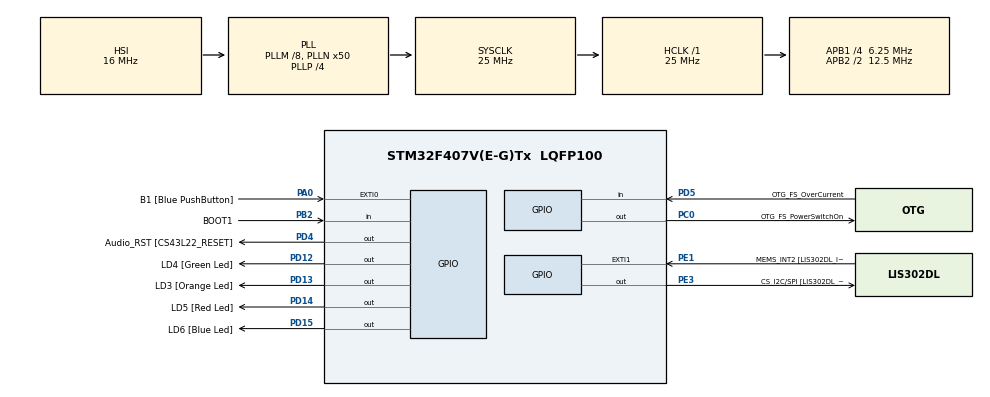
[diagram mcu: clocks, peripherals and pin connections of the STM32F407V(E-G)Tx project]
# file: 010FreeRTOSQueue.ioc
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Mcu.Family=STM32F4
Mcu.Name=STM32F407V(E-G)Tx
Mcu.Package=LQFP100
NVIC.PriorityGroup=NVIC_PRIORITYGROUP_0
NVIC.TIM6_DAC_IRQn=true\:0\:0\:false\:false\:true\:false\:true\:true
NVIC.TimeBase=TIM6_DAC_IRQn
NVIC.TimeBaseIP=TIM6
PA0-WKUP.GPIO_Label=B1 [Blue PushButton]
PA0-WKUP.Signal=GPXTI0
PA10.GPIO_Label=OTG_FS_ID
PA10.GPIO_Mode=GPIO_MODE_AF_PP
PA10.GPIO_PuPd=GPIO_NOPULL
PA10.GPIO_Speed=GPIO_SPEED_FREQ_LOW
PA10.Signal=USB_OTG_FS_ID
PA11.GPIO_Label=OTG_FS_DM
PA11.GPIO_Mode=GPIO_MODE_AF_PP
PA11.GPIO_PuPd=GPIO_NOPULL
PA11.GPIO_Speed=GPIO_SPEED_FREQ_LOW
PA11.Signal=USB_OTG_FS_DM
PA12.GPIO_Label=OTG_FS_DP
PA12.GPIO_Mode=GPIO_MODE_AF_PP
PA12.GPIO_PuPd=GPIO_NOPULL
PA12.GPIO_Speed=GPIO_SPEED_FREQ_LOW
PA12.Signal=USB_OTG_FS_DP
PA13.GPIO_Label=SWDIO
PA13.Signal=SYS_JTMS-SWDIO
PA14.GPIO_Label=SWCLK
PA14.Signal=SYS_JTCK-SWCLK
PA4.GPIO_Label=I2S3_WS [CS43L22_LRCK]
PA4.GPIO_Mode=GPIO_MODE_AF_PP
PA4.GPIO_PuPd=GPIO_NOPULL
PA4.GPIO_Speed=GPIO_SPEED_FREQ_LOW
PA4.Signal=I2S3_WS
PA5.GPIO_Label=SPI1_SCK [LIS302DL_SCL/SPC]
PA5.GPIO_Mode=GPIO_MODE_AF_PP
PA5.GPIO_PuPd=GPIO_NOPULL
PA5.GPIO_Speed=GPIO_SPEED_FREQ_LOW
PA5.Signal=SPI1_SCK
PA6.GPIO_Label=SPI1_MISO [LIS302DL_SDO]
PA6.GPIO_Mode=GPIO_MODE_AF_PP
PA6.GPIO_PuPd=GPIO_NOPULL
PA6.GPIO_Speed=GPIO_SPEED_FREQ_LOW
PA6.Signal=SPI1_MISO
PA7.GPIO_Label=SPI1_MOSI [LIS302DL_SDA/SDI/SDO]
PA7.GPIO_Mode=GPIO_MODE_AF_PP
PA7.GPIO_PuPd=GPIO_NOPULL
PA7.GPIO_Speed=GPIO_SPEED_FREQ_LOW
PA7.Signal=SPI1_MOSI
PA9.GPIO_Label=VBUS_FS
PA9.GPIO_Mode=GPIO_MODE_INPUT
PA9.GPIO_PuPd=GPIO_NOPULL
PA9.Signal=USB_OTG_FS_VBUS
PB10.GPIO_Label=CLK_IN [MP45DT02_CLK]
PB10.GPIO_Mode=GPIO_MODE_AF_PP
PB10.GPIO_PuPd=GPIO_NOPULL
PB10.GPIO_Speed=GPIO_SPEED_FREQ_LOW
PB10.Signal=I2S2_CK
PB2.GPIO_Label=BOOT1
PB2.GPIO_Mode=GPIO_MODE_INPUT
PB2.GPIO_PuPd=GPIO_NOPULL
PB2.Signal=GPIO_Input
PB3.GPIO_Label=SWO
PB3.Signal=SYS_JTDO-SWO
PB6.GPIO_Label=Audio_SCL [CS43L22_SCL]
PB6.GPIO_Mode=GPIO_MODE_AF_OD
PB6.GPIO_PuPd=GPIO_NOPULL
PB6.GPIO_Speed=GPIO_SPEED_FREQ_LOW
PB6.Signal=I2C1_SCL
PB9.GPIO_Label=Audio_SDA [CS43L22_SDA]
PB9.GPIO_Mode=GPIO_MODE_AF_OD
PB9.GPIO_PuPd=GPIO_NOPULL
PB9.GPIO_Speed=GPIO_SPEED_FREQ_LOW
PB9.Signal=I2C1_SDA
PC0.GPIO_Label=OTG_FS_PowerSwitchOn
PC0.GPIO_PuPd=GPIO_NOPULL
PC0.GPIO_Speed=GPIO_SPEED_FREQ_LOW
PC0.PinState=GPIO_PIN_SET
PC0.Signal=GPIO_Output
PC10.GPIO_Label=I2S3_SCK [CS43L22_SCLK]
PC10.GPIO_Mode=GPIO_MODE_AF_PP
PC10.GPIO_PuPd=GPIO_NOPULL
PC10.GPIO_Speed=GPIO_SPEED_FREQ_LOW
PC10.Signal=I2S3_CK
PC12.GPIO_Label=I2S3_SD [CS43L22_SDIN]
PC12.GPIO_Mode=GPIO_MODE_AF_PP
PC12.GPIO_PuPd=GPIO_NOPULL
PC12.GPIO_Speed=GPIO_SPEED_FREQ_LOW
PC12.Signal=I2S3_SD
PC14-OSC32_IN.GPIO_Label=PC14-OSC32_IN
PC14-OSC32_IN.Signal=RCC_OSC32_IN
PC15-OSC32_OUT.GPIO_Label=PC15-OSC32_OUT
PC15-OSC32_OUT.Signal=RCC_OSC32_OUT
PC3.GPIO_Label=PDM_OUT [MP45DT02_DOUT]
PC3.GPIO_Mode=GPIO_MODE_AF_PP
PC3.GPIO_PuPd=GPIO_NOPULL
PC3.GPIO_Speed=GPIO_SPEED_FREQ_LOW
PC3.Signal=I2S2_SD
PC7.GPIO_Label=I2S3_MCK [CS43L22_MCLK]
PC7.GPIO_Mode=GPIO_MODE_AF_PP
PC7.GPIO_PuPd=GPIO_NOPULL
PC7.GPIO_Speed=GPIO_SPEED_FREQ_LOW
PC7.Signal=I2S3_MCK
PD12.GPIO_Label=LD4 [Green Led]
PD12.GPIO_PuPd=GPIO_NOPULL
PD12.GPIO_Speed=GPIO_SPEED_FREQ_LOW
PD12.Signal=GPIO_Output
PD13.GPIO_Label=LD3 [Orange Led]
PD13.GPIO_PuPd=GPIO_NOPULL
PD13.GPIO_Speed=GPIO_SPEED_FREQ_LOW
PD13.Signal=GPIO_Output
PD14.GPIO_Label=LD5 [Red Led]
PD14.GPIO_PuPd=GPIO_NOPULL
PD14.GPIO_Speed=GPIO_SPEED_FREQ_LOW
PD14.Signal=GPIO_Output
PD15.GPIO_Label=LD6 [Blue Led]
PD15.GPIO_PuPd=GPIO_NOPULL
PD15.GPIO_Speed=GPIO_SPEED_FREQ_LOW
PD15.Signal=GPIO_Output
PD4.GPIO_Label=Audio_RST [CS43L22_RESET]
PD4.GPIO_PuPd=GPIO_NOPULL
PD4.GPIO_Speed=GPIO_SPEED_FREQ_LOW
PD4.Signal=GPIO_Output
PD5.GPIO_Label=OTG_FS_OverCurrent
PD5.GPIO_Mode=GPIO_MODE_INPUT
PD5.GPIO_PuPd=GPIO_NOPULL
PD5.Signal=GPIO_Input
PE1.GPIO_Label=MEMS_INT2 [LIS302DL_INT2]
PE1.GPIO_ModeDefaultEXTI=GPIO_MODE_EVT_RISING
PE1.GPIO_PuPd=GPIO_NOPULL
PE1.Signal=GPXTI1
PE3.GPIO_Label=CS_I2C/SPI [LIS302DL_CS_I2C/SPI]
PE3.GPIO_PuPd=GPIO_NOPULL
PE3.GPIO_Speed=GPIO_SPEED_FREQ_LOW
PE3.Signal=GPIO_Output
PH0-OSC_IN.GPIO_Label=PH0-OSC_IN
PH0-OSC_IN.Signal=RCC_OSC_IN
PH1-OSC_OUT.GPIO_Label=PH1-OSC_OUT
PH1-OSC_OUT.Signal=RCC_OSC_OUT
ProjectManager.HeapSize=0x200
ProjectManager.StackSize=0x400
ProjectManager.TargetToolchain=STM32CubeIDE
RCC.48MHZClocksFreq_Value=14285714.285714285
RCC.AHBFreq_Value=25000000
RCC.APB1CLKDivider=RCC_HCLK_DIV4
RCC.APB1Freq_Value=6250000
RCC.APB1TimFreq_Value=12500000
RCC.APB2CLKDivider=RCC_HCLK_DIV2
RCC.APB2Freq_Value=12500000
RCC.APB2TimFreq_Value=25000000
RCC.CortexFreq_Value=25000000
RCC.HCLKFreq_Value=25000000
RCC.HSE_VALUE=8000000
RCC.HSI_VALUE=16000000
RCC.LSE_VALUE=32768
RCC.PLLM=8
RCC.PLLN=50
RCC.PLLP=RCC_PLLP_DIV4
RCC.PLLQ=7
RCC.SYSCLKFreq_VALUE=25000000
RCC.SYSCLKSource=RCC_SYSCLKSOURCE_PLLCLK
RCC.VCOOutputFreq_Value=100000000
VP_SYS_VS_tim6.Mode=TIM6
board=STM32F407G-DISC1

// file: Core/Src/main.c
/* USER CODE BEGIN Header */
/**
  ******************************************************************************
  * @file           : main.c
  * @brief          : Main program body
  ******************************************************************************
  * @attention
  *
  * Copyright (c) 2024 STMicroelectronics.
  * All rights reserved.
  *
  * This software is licensed under terms that can be found in the LICENSE file
  * in the root directory of this software component.
  * If no LICENSE file comes with this software, it is provided AS-IS.
  *
  ******************************************************************************
  */
/* USER CODE END Header */
#include "main.h"

/* USER CODE BEGIN Includes */
#include <stdint.h>
#include <stdlib.h>
#include "FreeRTOS.h"
#include "task.h"
#include "queue.h"
/* USER CODE END Includes */

/* USER CODE BEGIN PD */
#define DWT_CTRL					(*(volatile uint32_t *) 0xE0001000U)
#define QUEUE_SIZE					5
#define QUEUE_ADD_WAIT				(portMAX_DELAY)
#define MANAGER_TASK_DELAY			25
#define MANAGER_TASK_FAIL_DELAY		10
/* USER CODE END PD */

/* USER CODE BEGIN PV */
TaskHandle_t task_handle_manager_task;

QueueHandle_t TaskQueue = NULL;

/* USER CODE END PV */

void SystemClock_Config(void);
static void MX_GPIO_Init(void);
/* USER CODE BEGIN PFP */
static void manager_task(void *params);
static void get_pending_report(void);
/* USER CODE END PFP */

int main(void)
{
  /* USER CODE BEGIN 1 */
	BaseType_t status;

  /* USER CODE END 1 */

  /* MCU Configuration--------------------------------------------------------*/

  /* Reset of all peripherals, Initializes the Flash interface and the Systick. */
  HAL_Init();

  /* Configure the system clock */
  SystemClock_Config();

  /* Initialize all configured peripherals */
  MX_GPIO_Init();
  /* USER CODE BEGIN 2 */
  //Enable the DWT (Data Watch Point) Cycle Count Feature
  DWT_CTRL |= (1 << 0);

  //Enabling SEGGER SYSVIEW event tracing
  SEGGER_SYSVIEW_Conf();
  SEGGER_SYSVIEW_Start();

  status = xTaskCreate(manager_task,"manager_task",1024,NULL,2,&task_handle_manager_task);
  configASSERT(status == pdPASS);

  TaskQueue = xQueueCreate(QUEUE_SIZE,sizeof(unsigned long));
  configASSERT(TaskQueue != NULL);

  vTaskStartScheduler();
  /* USER CODE END 2 */

  /* Infinite loop */
  while (1)
  {

  }
}

void SystemClock_Config(void)
{
  RCC_OscInitTypeDef RCC_OscInitStruct = {0};
  RCC_ClkInitTypeDef RCC_ClkInitStruct = {0};

  /** Configure the main internal regulator output voltage
  */
  __HAL_RCC_PWR_CLK_ENABLE();
  __HAL_PWR_VOLTAGESCALING_CONFIG(PWR_REGULATOR_VOLTAGE_SCALE1);

  /** Initializes the RCC Oscillators according to the specified parameters
  * in the RCC_OscInitTypeDef structure.
  */
  RCC_OscInitStruct.OscillatorType = RCC_OSCILLATORTYPE_HSI;
  RCC_OscInitStruct.HSIState = RCC_HSI_ON;
  RCC_OscInitStruct.HSICalibrationValue = RCC_HSICALIBRATION_DEFAULT;
  RCC_OscInitStruct.PLL.PLLState = RCC_PLL_ON;
  RCC_OscInitStruct.PLL.PLLSource = RCC_PLLSOURCE_HSI;
  RCC_OscInitStruct.PLL.PLLM = 8;
  RCC_OscInitStruct.PLL.PLLN = 50;
  RCC_OscInitStruct.PLL.PLLP = RCC_PLLP_DIV4;
  RCC_OscInitStruct.PLL.PLLQ = 7;
  if (HAL_RCC_OscConfig(&RCC_OscInitStruct) != HAL_OK)
  {
    Error_Handler();
  }

  /** Initializes the CPU, AHB and APB buses clocks
  */
  RCC_ClkInitStruct.ClockType = RCC_CLOCKTYPE_HCLK|RCC_CLOCKTYPE_SYSCLK
                              |RCC_CLOCKTYPE_PCLK1|RCC_CLOCKTYPE_PCLK2;
  RCC_ClkInitStruct.SYSCLKSource = RCC_SYSCLKSOURCE_PLLCLK;
  RCC_ClkInitStruct.AHBCLKDivider = RCC_SYSCLK_DIV1;
  RCC_ClkInitStruct.APB1CLKDivider = RCC_HCLK_DIV4;
  RCC_ClkInitStruct.APB2CLKDivider = RCC_HCLK_DIV2;

  if (HAL_RCC_ClockConfig(&RCC_ClkInitStruct, FLASH_LATENCY_0) != HAL_OK)
  {
    Error_Handler();
  }
}

static void MX_GPIO_Init(void)
{
  GPIO_InitTypeDef GPIO_InitStruct = {0};

  /* GPIO Ports Clock Enable */
  __HAL_RCC_GPIOE_CLK_ENABLE();
  __HAL_RCC_GPIOC_CLK_ENABLE();
  __HAL_RCC_GPIOH_CLK_ENABLE();
  __HAL_RCC_GPIOA_CLK_ENABLE();
  __HAL_RCC_GPIOB_CLK_ENABLE();
  __HAL_RCC_GPIOD_CLK_ENABLE();

  /*Configure GPIO pin Output Level */
  HAL_GPIO_WritePin(CS_I2C_SPI_GPIO_Port, CS_I2C_SPI_Pin, GPIO_PIN_RESET);

  /*Configure GPIO pin Output Level */
  HAL_GPIO_WritePin(OTG_FS_PowerSwitchOn_GPIO_Port, OTG_FS_PowerSwitchOn_Pin, GPIO_PIN_SET);

  /*Configure GPIO pin Output Level */
  HAL_GPIO_WritePin(GPIOD, LD4_Pin|LD3_Pin|LD5_Pin|LD6_Pin
                          |Audio_RST_Pin, GPIO_PIN_RESET);

  /*Configure GPIO pin : CS_I2C_SPI_Pin */
  GPIO_InitStruct.Pin = CS_I2C_SPI_Pin;
  GPIO_InitStruct.Mode = GPIO_MODE_OUTPUT_PP;
  GPIO_InitStruct.Pull = GPIO_NOPULL;
  GPIO_InitStruct.Speed = GPIO_SPEED_FREQ_LOW;
  HAL_GPIO_Init(CS_I2C_SPI_GPIO_Port, &GPIO_InitStruct);

  /*Configure GPIO pin : OTG_FS_PowerSwitchOn_Pin */
  GPIO_InitStruct.Pin = OTG_FS_PowerSwitchOn_Pin;
  GPIO_InitStruct.Mode = GPIO_MODE_OUTPUT_PP;
  GPIO_InitStruct.Pull = GPIO_NOPULL;
  GPIO_InitStruct.Speed = GPIO_SPEED_FREQ_LOW;
  HAL_GPIO_Init(OTG_FS_PowerSwitchOn_GPIO_Port, &GPIO_InitStruct);

  /*Configure GPIO pin : PDM_OUT_Pin */
  GPIO_InitStruct.Pin = PDM_OUT_Pin;
  GPIO_InitStruct.Mode = GPIO_MODE_AF_PP;
  GPIO_InitStruct.Pull = GPIO_NOPULL;
  GPIO_InitStruct.Speed = GPIO_SPEED_FREQ_LOW;
  GPIO_InitStruct.Alternate = GPIO_AF5_SPI2;
  HAL_GPIO_Init(PDM_OUT_GPIO_Port, &GPIO_InitStruct);

  /*Configure GPIO pin : B1_Pin */
  GPIO_InitStruct.Pin = B1_Pin;
  GPIO_InitStruct.Mode = GPIO_MODE_IT_RISING;
  GPIO_InitStruct.Pull = GPIO_NOPULL;
  HAL_GPIO_Init(B1_GPIO_Port, &GPIO_InitStruct);

  /*Configure GPIO pin : I2S3_WS_Pin */
  GPIO_InitStruct.Pin = I2S3_WS_Pin;
  GPIO_InitStruct.Mode = GPIO_MODE_AF_PP;
  GPIO_InitStruct.Pull = GPIO_NOPULL;
  GPIO_InitStruct.Speed = GPIO_SPEED_FREQ_LOW;
  GPIO_InitStruct.Alternate = GPIO_AF6_SPI3;
  HAL_GPIO_Init(I2S3_WS_GPIO_Port, &GPIO_InitStruct);

  /*Configure GPIO pins : SPI1_SCK_Pin SPI1_MISO_Pin SPI1_MOSI_Pin */
  GPIO_InitStruct.Pin = SPI1_SCK_Pin|SPI1_MISO_Pin|SPI1_MOSI_Pin;
  GPIO_InitStruct.Mode = GPIO_MODE_AF_PP;
  GPIO_InitStruct.Pull = GPIO_NOPULL;
  GPIO_InitStruct.Speed = GPIO_SPEED_FREQ_LOW;
  GPIO_InitStruct.Alternate = GPIO_AF5_SPI1;
  HAL_GPIO_Init(GPIOA, &GPIO_InitStruct);

  /*Configure GPIO pin : BOOT1_Pin */
  GPIO_InitStruct.Pin = BOOT1_Pin;
  GPIO_InitStruct.Mode = GPIO_MODE_INPUT;
  GPIO_InitStruct.Pull = GPIO_NOPULL;
  HAL_GPIO_Init(BOOT1_GPIO_Port, &GPIO_InitStruct);

  /*Configure GPIO pin : CLK_IN_Pin */
  GPIO_InitStruct.Pin = CLK_IN_Pin;
  GPIO_InitStruct.Mode = GPIO_MODE_AF_PP;
  GPIO_InitStruct.Pull = GPIO_NOPULL;
  GPIO_InitStruct.Speed = GPIO_SPEED_FREQ_LOW;
  GPIO_InitStruct.Alternate = GPIO_AF5_SPI2;
  HAL_GPIO_Init(CLK_IN_GPIO_Port, &GPIO_InitStruct);

  /*Configure GPIO pins : LD4_Pin LD3_Pin LD5_Pin LD6_Pin
                           Audio_RST_Pin */
  GPIO_InitStruct.Pin = LD4_Pin|LD3_Pin|LD5_Pin|LD6_Pin
                          |Audio_RST_Pin;
  GPIO_InitStruct.Mode = GPIO_MODE_OUTPUT_PP;
  GPIO_InitStruct.Pull = GPIO_NOPULL;
  GPIO_InitStruct.Speed = GPIO_SPEED_FREQ_LOW;
  HAL_GPIO_Init(GPIOD, &GPIO_InitStruct);

  /*Configure GPIO pins : I2S3_MCK_Pin I2S3_SCK_Pin I2S3_SD_Pin */
  GPIO_InitStruct.Pin = I2S3_MCK_Pin|I2S3_SCK_Pin|I2S3_SD_Pin;
  GPIO_InitStruct.Mode = GPIO_MODE_AF_PP;
  GPIO_InitStruct.Pull = GPIO_NOPULL;
  GPIO_InitStruct.Speed = GPIO_SPEED_FREQ_LOW;
  GPIO_InitStruct.Alternate = GPIO_AF6_SPI3;
  HAL_GPIO_Init(GPIOC, &GPIO_InitStruct);

  /*Configure GPIO pin : VBUS_FS_Pin */
  GPIO_InitStruct.Pin = VBUS_FS_Pin;
  GPIO_InitStruct.Mode = GPIO_MODE_INPUT;
  GPIO_InitStruct.Pull = GPIO_NOPULL;
  HAL_GPIO_Init(VBUS_FS_GPIO_Port, &GPIO_InitStruct);

  /*Configure GPIO pins : OTG_FS_ID_Pin OTG_FS_DM_Pin OTG_FS_DP_Pin */
  GPIO_InitStruct.Pin = OTG_FS_ID_Pin|OTG_FS_DM_Pin|OTG_FS_DP_Pin;
  GPIO_InitStruct.Mode = GPIO_MODE_AF_PP;
  GPIO_InitStruct.Pull = GPIO_NOPULL;
  GPIO_InitStruct.Speed = GPIO_SPEED_FREQ_LOW;
  GPIO_InitStruct.Alternate = GPIO_AF10_OTG_FS;
  HAL_GPIO_Init(GPIOA, &GPIO_InitStruct);

  /*Configure GPIO pin : OTG_FS_OverCurrent_Pin */
  GPIO_InitStruct.Pin = OTG_FS_OverCurrent_Pin;
  GPIO_InitStruct.Mode = GPIO_MODE_INPUT;
  GPIO_InitStruct.Pull = GPIO_NOPULL;
  HAL_GPIO_Init(OTG_FS_OverCurrent_GPIO_Port, &GPIO_InitStruct);

  /*Configure GPIO pins : Audio_SCL_Pin Audio_SDA_Pin */
  GPIO_InitStruct.Pin = Audio_SCL_Pin|Audio_SDA_Pin;
  GPIO_InitStruct.Mode = GPIO_MODE_AF_OD;
  GPIO_InitStruct.Pull = GPIO_NOPULL;
  GPIO_InitStruct.Speed = GPIO_SPEED_FREQ_LOW;
  GPIO_InitStruct.Alternate = GPIO_AF4_I2C1;
  HAL_GPIO_Init(GPIOB, &GPIO_InitStruct);

  /*Configure GPIO pin : MEMS_INT2_Pin */
  GPIO_InitStruct.Pin = MEMS_INT2_Pin;
  GPIO_InitStruct.Mode = GPIO_MODE_EVT_RISING;
  GPIO_InitStruct.Pull = GPIO_NOPULL;
  HAL_GPIO_Init(MEMS_INT2_GPIO_Port, &GPIO_InitStruct);

}

/* USER CODE BEGIN 4 */
static void manager_task(void *params)
{
	static uint32_t task_count = 0;

	while(1)
	{
		task_count++;
		if(xQueueSend(TaskQueue,&task_count,QUEUE_ADD_WAIT) == pdTRUE)
		{
			SEGGER_SYSVIEW_PrintfHost("Manager: Message %d added to queue",task_count);
			get_pending_report();
			vTaskDelay(MANAGER_TASK_DELAY);
		}
		else
		{
			SEGGER_SYSVIEW_PrintfHost("Manager: xQueueSend() Failed - Queue Full. Message %d dropped",task_count);
			vTaskDelay(MANAGER_TASK_FAIL_DELAY);
		}
	}
}

static void get_pending_report(void)
{
	UBaseType_t messages_waiting;
	UBaseType_t slots_available;

	messages_waiting = uxQueueMessagesWaiting(TaskQueue);
	SEGGER_SYSVIEW_PrintfHost("Total Messages Waiting in Queue: %d",messages_waiting);

	slots_available = uxQueueSpacesAvailable(TaskQueue);
	SEGGER_SYSVIEW_PrintfHost("Total Slots Available in Queue: %d",slots_available);
}

/* USER CODE END 4 */

void HAL_TIM_PeriodElapsedCallback(TIM_HandleTypeDef *htim)
{
  if (htim->Instance == TIM6) {
    HAL_IncTick();
  }
}

void Error_Handler(void)
{
  __disable_irq();
  while (1)
  {
  }
}
